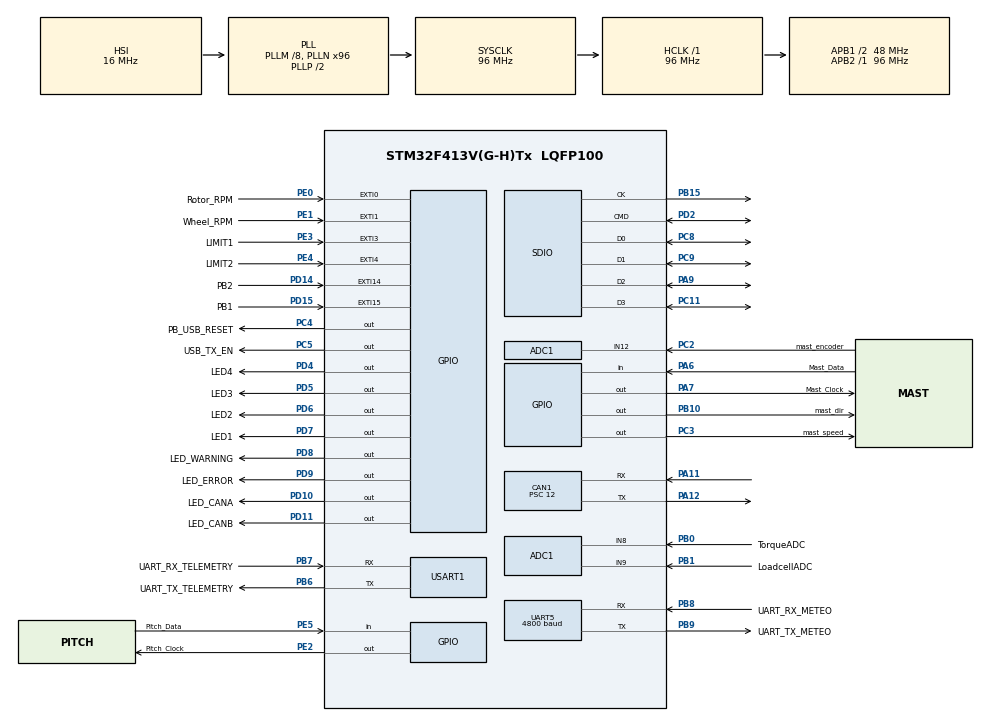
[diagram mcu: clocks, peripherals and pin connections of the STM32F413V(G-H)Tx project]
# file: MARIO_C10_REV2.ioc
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ADC1.Channel-0\#ChannelRegularConversion=ADC_CHANNEL_8
ADC1.Channel-3\#ChannelRegularConversion=ADC_CHANNEL_9
ADC1.ContinuousConvMode=ENABLE
ADC1.DiscontinuousConvMode=DISABLE
ADC1.EOCSelection=ADC_EOC_SINGLE_CONV
ADC1.InjNumberOfConversion=0
ADC1.NbrOfConversion=2
ADC1.NbrOfConversionFlag=1
ADC1.Rank-0\#ChannelRegularConversion=1
ADC1.Rank-3\#ChannelRegularConversion=2
ADC1.SamplingTime-0\#ChannelRegularConversion=ADC_SAMPLETIME_15CYCLES
ADC1.SamplingTime-3\#ChannelRegularConversion=ADC_SAMPLETIME_15CYCLES
ADC1.ScanConvMode=ENABLE
ADC1.master=1
CAN1.ABOM=ENABLE
CAN1.BS1=CAN_BS1_11TQ
CAN1.BS2=CAN_BS2_4TQ
CAN1.CalculateBaudRate=250000
CAN1.CalculateTimeBit=4000
CAN1.CalculateTimeQuantum=250.0
CAN1.NART=DISABLE
CAN1.Prescaler=12
CAN1.SJW=CAN_SJW_3TQ
CAN1.TXFP=ENABLE
Mcu.Family=STM32F4
Mcu.Name=STM32F413V(G-H)Tx
Mcu.Package=LQFP100
NVIC.ADC_IRQn=true\:0\:0\:false\:false\:true\:true\:true\:true
NVIC.CAN1_RX0_IRQn=true\:0\:0\:false\:false\:true\:true\:true\:true
NVIC.CAN1_RX1_IRQn=true\:0\:0\:false\:false\:true\:true\:true\:true
NVIC.EXTI0_IRQn=true\:0\:0\:false\:false\:true\:true\:true\:true
NVIC.EXTI15_10_IRQn=true\:0\:0\:false\:false\:true\:true\:true\:true
NVIC.EXTI1_IRQn=true\:0\:0\:false\:true\:true\:1\:true\:true\:true
NVIC.EXTI3_IRQn=true\:0\:0\:false\:false\:true\:true\:true\:true
NVIC.EXTI4_IRQn=true\:0\:0\:false\:false\:true\:true\:true\:true
NVIC.PriorityGroup=NVIC_PRIORITYGROUP_4
NVIC.TIM2_IRQn=true\:0\:0\:false\:false\:true\:true\:true\:true
NVIC.TIM3_IRQn=true\:0\:0\:false\:false\:true\:true\:true\:true
NVIC.TIM4_IRQn=true\:0\:0\:false\:false\:true\:true\:true\:true
NVIC.TIM5_IRQn=true\:0\:0\:false\:false\:true\:true\:true\:true
NVIC.TIM6_DAC_IRQn=true\:0\:0\:false\:false\:true\:true\:true\:true
NVIC.TIM7_IRQn=true\:0\:0\:false\:false\:true\:true\:true\:true
NVIC.UART5_IRQn=true\:0\:0\:false\:false\:true\:true\:true\:true
PA11.Mode=CAN_Activate
PA11.Signal=CAN1_RX
PA12.Mode=CAN_Activate
PA12.Signal=CAN1_TX
PA13.Signal=SYS_JTMS-SWDIO
PA14.Signal=SYS_JTCK-SWCLK
PA6.GPIO_Label=Mast_Data
PA6.Signal=GPIO_Input
PA7.GPIO_Label=Mast_Clock
PA7.Signal=GPIO_Output
PA9.Mode=SD_4_bits_Wide_bus
PA9.Signal=SDIO_D2
PB0.GPIO_Label=TorqueADC
PB0.Signal=ADCx_IN8
PB1.GPIO_Label=LoadcellADC
PB1.Signal=ADCx_IN9
PB10.GPIO_Label=mast_dir
PB10.Signal=GPIO_Output
PB15.Mode=SD_4_bits_Wide_bus
PB15.Signal=SDIO_CK
PB3.Signal=SYS_JTDO-SWO
PB6.GPIO_Label=UART_TX_TELEMETRY
PB6.Mode=Asynchronous
PB6.Signal=USART1_TX
PB7.GPIO_Label=UART_RX_TELEMETRY
PB7.Mode=Asynchronous
PB7.Signal=USART1_RX
PB8.GPIO_Label=UART_RX_METEO
PB8.Mode=Asynchronous
PB8.Signal=UART5_RX
PB9.GPIO_Label=UART_TX_METEO
PB9.Mode=Asynchronous
PB9.Signal=UART5_TX
PC11.Mode=SD_4_bits_Wide_bus
PC11.Signal=SDIO_D3
PC2.GPIO_Label=mast_encoder
PC2.Signal=ADCx_IN12
PC3.GPIO_Label=mast_speed
PC3.Signal=GPIO_Output
PC4.GPIO_Label=PB_USB_RESET
PC4.Signal=GPIO_Output
PC5.GPIO_Label=USB_TX_EN
PC5.Signal=GPIO_Output
PC8.Mode=SD_4_bits_Wide_bus
PC8.Signal=SDIO_D0
PC9.Mode=SD_4_bits_Wide_bus
PC9.Signal=SDIO_D1
PD10.GPIO_Label=LED_CANA
PD10.Signal=GPIO_Output
PD11.GPIO_Label=LED_CANB
PD11.Signal=GPIO_Output
PD14.GPIO_Label=PB2
PD14.GPIO_ModeDefaultEXTI=GPIO_MODE_IT_FALLING
PD14.Signal=GPXTI14
PD15.GPIO_Label=PB1
PD15.GPIO_ModeDefaultEXTI=GPIO_MODE_IT_FALLING
PD15.Signal=GPXTI15
PD2.Mode=SD_4_bits_Wide_bus
PD2.Signal=SDIO_CMD
PD4.GPIO_Label=LED4
PD4.Signal=GPIO_Output
PD5.GPIO_Label=LED3
PD5.Signal=GPIO_Output
PD6.GPIO_Label=LED2
PD6.Signal=GPIO_Output
PD7.GPIO_Label=LED1
PD7.Signal=GPIO_Output
PD8.GPIO_Label=LED_WARNING
PD8.Signal=GPIO_Output
PD9.GPIO_Label=LED_ERROR
PD9.Signal=GPIO_Output
PE0.GPIO_Label=Rotor_RPM
PE0.GPIO_PuPd=GPIO_PULLDOWN
PE0.Signal=GPXTI0
PE1.GPIO_Label=Wheel_RPM
PE1.GPIO_PuPd=GPIO_PULLDOWN
PE1.Signal=GPXTI1
PE2.GPIO_Label=Pitch_Clock
PE2.Signal=GPIO_Output
PE3.GPIO_Label=LIMIT1
PE3.Signal=GPXTI3
PE4.GPIO_Label=LIMIT2
PE4.Signal=GPXTI4
PE5.GPIO_Label=Pitch_Data
PE5.Signal=GPIO_Input
ProjectManager.HeapSize=0x200
ProjectManager.StackSize=0x400
ProjectManager.TargetToolchain=STM32CubeIDE
RCC.AHBFreq_Value=96000000
RCC.APB1CLKDivider=RCC_HCLK_DIV2
RCC.APB1Freq_Value=48000000
RCC.APB1TimFreq_Value=96000000
RCC.APB2Freq_Value=96000000
RCC.APB2TimFreq_Value=96000000
RCC.CortexFreq_Value=96000000
RCC.HCLKFreq_Value=96000000
RCC.PLLM=8
RCC.PLLN=96
RCC.PLLQ=4
RCC.SYSCLKFreq_VALUE=96000000
RCC.SYSCLKSource=RCC_SYSCLKSOURCE_PLLCLK
RCC.USBFreq_Value=48000000
RCC.VCOOutputFreq_Value=192000000
SH.ADCx_IN12.0=ADC1_IN12,IN12
SH.ADCx_IN8.0=ADC1_IN8,IN8
SH.ADCx_IN9.0=ADC1_IN9,IN9
TIM1.AutoReloadPreload=TIM_AUTORELOAD_PRELOAD_ENABLE
TIM1.Period=65535
TIM1.Prescaler=383
TIM2.Period=999
TIM2.Prescaler=95
TIM3.Period=0
TIM3.Prescaler=47
TIM4.Period=49999
TIM4.Prescaler=950
TIM5.Period=10000
TIM5.Prescaler=480
TIM6.Period=0
TIM6.Prescaler=63
TIM7.Period=9999
TIM7.Prescaler=950
UART5.BaudRate=4800
UART5.VirtualMode=Asynchronous
USART1.Parity=PARITY_NONE
USART1.VirtualMode=VM_ASYNC
VP_FATFS_VS_SDIO.Mode=SDIO
VP_TIM1_VS_ClockSourceINT.Mode=Internal
VP_TIM2_VS_ClockSourceINT.Mode=Internal
VP_TIM3_VS_ClockSourceINT.Mode=Internal
VP_TIM4_VS_ClockSourceINT.Mode=Internal
VP_TIM5_VS_ClockSourceINT.Mode=Internal
VP_TIM6_VS_ClockSourceINT.Mode=Enable_Timer
VP_TIM7_VS_ClockSourceINT.Mode=Enable_Timer
board=custom

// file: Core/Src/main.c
/* USER CODE BEGIN Header */
/**
 ******************************************************************************
 * @file           : main.c
 * @brief          : Main program body
 ******************************************************************************
 * @attention
 *
 * Copyright (c) 2024 STMicroelectronics.
 * All rights reserved.
 *
 * This software is licensed under terms that can be found in the LICENSE file
 * in the root directory of this software component.
 * If no LICENSE file comes with this software, it is provided AS-IS.
 *
 ******************************************************************************
 */
/* USER CODE END Header */
#include "main.h"
#include "fatfs.h"

/* USER CODE BEGIN Includes */
#include "stm32f4xx_hal.h"

#include "can.h"
#include "chinook_can_ids.h"
#include "state_machine.h"
#include "sensors.h"

/* USER CODE END Includes */

ADC_HandleTypeDef hadc1;

CAN_HandleTypeDef hcan1;

SD_HandleTypeDef hsd;

TIM_HandleTypeDef htim1;
TIM_HandleTypeDef htim2;
TIM_HandleTypeDef htim3;
TIM_HandleTypeDef htim4;
TIM_HandleTypeDef htim5;
TIM_HandleTypeDef htim6;
TIM_HandleTypeDef htim7;

UART_HandleTypeDef huart5;
UART_HandleTypeDef huart1;

void SystemClock_Config(void);
static void MX_GPIO_Init(void);
static void MX_ADC1_Init(void);
static void MX_CAN1_Init(void);
static void MX_TIM3_Init(void);
static void MX_TIM4_Init(void);
static void MX_TIM5_Init(void);
static void MX_TIM2_Init(void);
static void MX_TIM1_Init(void);
static void MX_USART1_UART_Init(void);
static void MX_TIM6_Init(void);
static void MX_TIM7_Init(void);
static void MX_UART5_Init(void);
static void MX_SDIO_SD_Init(void);
static void MX_NVIC_Init(void);

int main(void)
{

  /* MCU Configuration--------------------------------------------------------*/

  /* Reset of all peripherals, Initializes the Flash interface and the Systick. */
  HAL_Init();

  /* Configure the system clock */
  SystemClock_Config();

  /* Initialize all configured peripherals */
  MX_GPIO_Init();
  MX_ADC1_Init();
  MX_CAN1_Init();
  MX_TIM3_Init();
  MX_TIM4_Init();
  MX_TIM5_Init();
  MX_TIM2_Init();
  MX_TIM1_Init();
  MX_USART1_UART_Init();
  MX_TIM6_Init();
  MX_TIM7_Init();
  MX_UART5_Init();
  MX_SDIO_SD_Init();
  MX_FATFS_Init();

  /* Initialize interrupts */
  MX_NVIC_Init();

  /* Infinite loop */
  /* USER CODE BEGIN WHILE */
	while (1) {
		ExecuteStateMachine();
	}
    /* USER CODE END WHILE */

}

void SystemClock_Config(void)
{
  RCC_OscInitTypeDef RCC_OscInitStruct = {0};
  RCC_ClkInitTypeDef RCC_ClkInitStruct = {0};

  /** Configure the main internal regulator output voltage
  */
  __HAL_RCC_PWR_CLK_ENABLE();
  __HAL_PWR_VOLTAGESCALING_CONFIG(PWR_REGULATOR_VOLTAGE_SCALE1);
  /** Initializes the RCC Oscillators according to the specified parameters
  * in the RCC_OscInitTypeDef structure.
  */
  RCC_OscInitStruct.OscillatorType = RCC_OSCILLATORTYPE_HSI;
  RCC_OscInitStruct.HSIState = RCC_HSI_ON;
  RCC_OscInitStruct.HSICalibrationValue = RCC_HSICALIBRATION_DEFAULT;
  RCC_OscInitStruct.PLL.PLLState = RCC_PLL_ON;
  RCC_OscInitStruct.PLL.PLLSource = RCC_PLLSOURCE_HSI;
  RCC_OscInitStruct.PLL.PLLM = 8;
  RCC_OscInitStruct.PLL.PLLN = 96;
  RCC_OscInitStruct.PLL.PLLP = RCC_PLLP_DIV2;
  RCC_OscInitStruct.PLL.PLLQ = 4;
  RCC_OscInitStruct.PLL.PLLR = 2;
  if (HAL_RCC_OscConfig(&RCC_OscInitStruct) != HAL_OK)
  {
    Error_Handler();
  }
  /** Initializes the CPU, AHB and APB buses clocks
  */
  RCC_ClkInitStruct.ClockType = RCC_CLOCKTYPE_HCLK|RCC_CLOCKTYPE_SYSCLK
                              |RCC_CLOCKTYPE_PCLK1|RCC_CLOCKTYPE_PCLK2;
  RCC_ClkInitStruct.SYSCLKSource = RCC_SYSCLKSOURCE_PLLCLK;
  RCC_ClkInitStruct.AHBCLKDivider = RCC_SYSCLK_DIV1;
  RCC_ClkInitStruct.APB1CLKDivider = RCC_HCLK_DIV2;
  RCC_ClkInitStruct.APB2CLKDivider = RCC_HCLK_DIV1;

  if (HAL_RCC_ClockConfig(&RCC_ClkInitStruct, FLASH_LATENCY_3) != HAL_OK)
  {
    Error_Handler();
  }
}

/**
  * @brief NVIC Configuration.
  * @retval None
  */
static void MX_NVIC_Init(void)
{
  /* EXTI1_IRQn interrupt configuration */
  HAL_NVIC_SetPriority(EXTI1_IRQn, 0, 0);
  HAL_NVIC_EnableIRQ(EXTI1_IRQn);
}

static void MX_ADC1_Init(void)
{

  ADC_ChannelConfTypeDef sConfig = {0};

  /** Configure the global features of the ADC (Clock, Resolution, Data Alignment and number of conversion)
  */
  hadc1.Instance = ADC1;
  hadc1.Init.ClockPrescaler = ADC_CLOCK_SYNC_PCLK_DIV4;
  hadc1.Init.Resolution = ADC_RESOLUTION_12B;
  hadc1.Init.ScanConvMode = ENABLE;
  hadc1.Init.ContinuousConvMode = ENABLE;
  hadc1.Init.DiscontinuousConvMode = DISABLE;
  hadc1.Init.ExternalTrigConvEdge = ADC_EXTERNALTRIGCONVEDGE_NONE;
  hadc1.Init.ExternalTrigConv = ADC_SOFTWARE_START;
  hadc1.Init.DataAlign = ADC_DATAALIGN_RIGHT;
  hadc1.Init.NbrOfConversion = 2;
  hadc1.Init.DMAContinuousRequests = DISABLE;
  hadc1.Init.EOCSelection = ADC_EOC_SINGLE_CONV;
  if (HAL_ADC_Init(&hadc1) != HAL_OK)
  {
    Error_Handler();
  }
  /** Configure for the selected ADC regular channel its corresponding rank in the sequencer and its sample time.
  */
  sConfig.Channel = ADC_CHANNEL_8;
  sConfig.Rank = 1;
  sConfig.SamplingTime = ADC_SAMPLETIME_15CYCLES;
  if (HAL_ADC_ConfigChannel(&hadc1, &sConfig) != HAL_OK)
  {
    Error_Handler();
  }
  /** Configure for the selected ADC regular channel its corresponding rank in the sequencer and its sample time.
  */
  sConfig.Channel = ADC_CHANNEL_9;
  sConfig.Rank = 2;
  if (HAL_ADC_ConfigChannel(&hadc1, &sConfig) != HAL_OK)
  {
    Error_Handler();
  }
  /* USER CODE BEGIN ADC1_Init 2 */

	HAL_ADC_Start_IT(&hadc1); //start interrrupt ADC1

  /* USER CODE END ADC1_Init 2 */

}

static void MX_CAN1_Init(void)
{

  hcan1.Instance = CAN1;
  hcan1.Init.Prescaler = 12;
  hcan1.Init.Mode = CAN_MODE_NORMAL;
  hcan1.Init.SyncJumpWidth = CAN_SJW_3TQ;
  hcan1.Init.TimeSeg1 = CAN_BS1_11TQ;
  hcan1.Init.TimeSeg2 = CAN_BS2_4TQ;
  hcan1.Init.TimeTriggeredMode = DISABLE;
  hcan1.Init.AutoBusOff = ENABLE;
  hcan1.Init.AutoWakeUp = DISABLE;
  hcan1.Init.AutoRetransmission = DISABLE;
  hcan1.Init.ReceiveFifoLocked = DISABLE;
  hcan1.Init.TransmitFifoPriority = ENABLE;
  if (HAL_CAN_Init(&hcan1) != HAL_OK)
  {
    Error_Handler();
  }
  /* USER CODE BEGIN CAN1_Init 2 */

  /*
  CAN_FilterTypeDef filter_fifo0;
      	// All common bits go into the ID register
      filter_fifo0.FilterIdHigh = MARIO_FIFO0_RX_FILTER_ID_HIGH;
      filter_fifo0.FilterIdLow = MARIO_FIFO0_RX_FILTER_ID_LOW;

      	// Which bits to compare for filter
      filter_fifo0.FilterMaskIdHigh = MARIO_FIFO0_RX_FILTER_MASK_HIGH;
      filter_fifo0.FilterMaskIdLow = MARIO_FIFO0_RX_FILTER_MASK_LOW;

      filter_fifo0.FilterFIFOAssignment = CAN_FILTER_FIFO0;
      filter_fifo0.FilterBank = 18; // Which filter to use from the assigned ones
      filter_fifo0.FilterMode = CAN_FILTERMODE_IDMASK;
      filter_fifo0.FilterScale = CAN_FILTERSCALE_32BIT;
      filter_fifo0.FilterActivation = CAN_FILTER_ENABLE;
      filter_fifo0.SlaveStartFilterBank = 20; // How many filters to assign to CAN1
  	if (HAL_CAN_ConfigFilter(&hcan1, &filter_fifo0) != HAL_OK)
  	{
  	  Error_Handler();
  	}
  	*/
/*
    CAN_FilterTypeDef filter_all;
    	// All common bits go into the ID register
    filter_all.FilterIdHigh = 0x0000;
    filter_all.FilterIdLow = 0x0000;

    	// Which bits to compare for filter
    filter_all.FilterMaskIdHigh = 0x0000;
    filter_all.FilterMaskIdLow = 0x0000;

    filter_all.FilterFIFOAssignment = CAN_FILTER_FIFO0;
    filter_all.FilterBank = 18; // Which filter to use from the assigned ones
    filter_all.FilterMode = CAN_FILTERMODE_IDMASK;
    filter_all.FilterScale = CAN_FILTERSCALE_32BIT;
    filter_all.FilterActivation = CAN_FILTER_ENABLE;
    filter_all.SlaveStartFilterBank = 20; // How many filters to assign to CAN1
	if (HAL_CAN_ConfigFilter(&hcan1, &filter_all) != HAL_OK)
	{
	  Error_Handler();
	}
*/

  	CAN_FilterTypeDef sf_fifo0;
  	// All common bits go into the ID register
  	sf_fifo0.FilterIdHigh = MARIO_FIFO0_RX_FILTER_ID_HIGH;
  	sf_fifo0.FilterIdLow = MARIO_FIFO0_RX_FILTER_ID_LOW;

  	// Which bits to compare for filter
  	sf_fifo0.FilterMaskIdHigh = 0x0000;
  	sf_fifo0.FilterMaskIdLow = (FIFO0_RX_FILTER_MASK_LOW & 0x07FF);

  	sf_fifo0.FilterFIFOAssignment = CAN_FILTER_FIFO0;
  	sf_fifo0.FilterBank = 2; // Which filter to use from the assigned ones
  	sf_fifo0.FilterMode = CAN_FILTERMODE_IDMASK;
  	sf_fifo0.FilterScale = CAN_FILTERSCALE_32BIT;
  	sf_fifo0.FilterActivation = CAN_FILTER_ENABLE;
  	sf_fifo0.SlaveStartFilterBank = 20; // How many filters to assign to CAN1
  	if (HAL_CAN_ConfigFilter(&hcan1, &sf_fifo0) != HAL_OK)
  	{
  	  Error_Handler();
  	}

  	CAN_FilterTypeDef sf_fifo1;
  	// All common bits go into the ID register
  	sf_fifo1.FilterIdHigh = FIFO1_RX_FILTER_ID_HIGH;
  	sf_fifo1.FilterIdLow = FIFO1_RX_FILTER_ID_LOW;

  	// Which bits to compare for filter
  	sf_fifo1.FilterMaskIdHigh = 0x0000;
  	sf_fifo1.FilterMaskIdLow = (FIFO1_RX_FILTER_MASK_LOW & 0x07FF);

  	sf_fifo1.FilterFIFOAssignment = CAN_FILTER_FIFO1;
  	sf_fifo1.FilterBank = 3; // Which filter to use from the assigned ones
  	sf_fifo1.FilterMode = CAN_FILTERMODE_IDMASK;
  	sf_fifo1.FilterScale = CAN_FILTERSCALE_32BIT;
  	sf_fifo1.FilterActivation = CAN_FILTER_ENABLE;
  	sf_fifo1.SlaveStartFilterBank = 20; // How many filters to assign to CAN1
  	if (HAL_CAN_ConfigFilter(&hcan1, &sf_fifo1) != HAL_OK)
  	{
  	  Error_Handler();
  	}

  if (HAL_CAN_Start(&hcan1) != HAL_OK)
  	{
  		Error_Handler();
  	}
  	// if (HAL_CAN_ActivateNotification(&hcan1, CAN_IT_RX_FIFO0_MSG_PENDING | CAN_IT_RX_FIFO1_MSG_PENDING | CAN_IT_BUSOFF | CAN_IT_ERROR | CAN_IT_ERROR_WARNING | CAN_IT_ERROR_PASSIVE) != HAL_OK)
    if (HAL_CAN_ActivateNotification(&hcan1, CAN_IT_RX_FIFO0_MSG_PENDING | CAN_IT_RX_FIFO1_MSG_PENDING) != HAL_OK)
  	// if (HAL_CAN_ActivateNotification(&hcan1, CAN_IT_RX_FIFO0_MSG_PENDING) != HAL_OK)
  	{
  		Error_Handler();
  	}

  /* USER CODE END CAN1_Init 2 */

}

static void MX_SDIO_SD_Init(void)
{

  hsd.Instance = SDIO;
  hsd.Init.ClockEdge = SDIO_CLOCK_EDGE_RISING;
  hsd.Init.ClockBypass = SDIO_CLOCK_BYPASS_DISABLE;
  hsd.Init.ClockPowerSave = SDIO_CLOCK_POWER_SAVE_DISABLE;
  hsd.Init.BusWide = SDIO_BUS_WIDE_1B;
  hsd.Init.HardwareFlowControl = SDIO_HARDWARE_FLOW_CONTROL_DISABLE;
  hsd.Init.ClockDiv = 8;  // Ralentir le clock SDIO encore plus pour debug

}

static void MX_TIM1_Init(void)
{

  TIM_ClockConfigTypeDef sClockSourceConfig = {0};
  TIM_MasterConfigTypeDef sMasterConfig = {0};

  htim1.Instance = TIM1;
  htim1.Init.Prescaler = 383;
  htim1.Init.CounterMode = TIM_COUNTERMODE_UP;
  htim1.Init.Period = 65535;
  htim1.Init.ClockDivision = TIM_CLOCKDIVISION_DIV1;
  htim1.Init.RepetitionCounter = 0;
  htim1.Init.AutoReloadPreload = TIM_AUTORELOAD_PRELOAD_ENABLE;
  if (HAL_TIM_Base_Init(&htim1) != HAL_OK)
  {
    Error_Handler();
  }
  sClockSourceConfig.ClockSource = TIM_CLOCKSOURCE_INTERNAL;
  if (HAL_TIM_ConfigClockSource(&htim1, &sClockSourceConfig) != HAL_OK)
  {
    Error_Handler();
  }
  sMasterConfig.MasterOutputTrigger = TIM_TRGO_RESET;
  sMasterConfig.MasterSlaveMode = TIM_MASTERSLAVEMODE_DISABLE;
  if (HAL_TIMEx_MasterConfigSynchronization(&htim1, &sMasterConfig) != HAL_OK)
  {
    Error_Handler();
  }
  /* USER CODE BEGIN TIM1_Init 2 */

	HAL_TIM_Base_Start(&htim1);

  /* USER CODE END TIM1_Init 2 */

}

static void MX_TIM2_Init(void)
{

  TIM_ClockConfigTypeDef sClockSourceConfig = {0};
  TIM_MasterConfigTypeDef sMasterConfig = {0};

  htim2.Instance = TIM2;
  htim2.Init.Prescaler = 95;
  htim2.Init.CounterMode = TIM_COUNTERMODE_UP;
  htim2.Init.Period = 999;
  htim2.Init.ClockDivision = TIM_CLOCKDIVISION_DIV1;
  htim2.Init.AutoReloadPreload = TIM_AUTORELOAD_PRELOAD_DISABLE;
  if (HAL_TIM_Base_Init(&htim2) != HAL_OK)
  {
    Error_Handler();
  }
  sClockSourceConfig.ClockSource = TIM_CLOCKSOURCE_INTERNAL;
  if (HAL_TIM_ConfigClockSource(&htim2, &sClockSourceConfig) != HAL_OK)
  {
    Error_Handler();
  }
  sMasterConfig.MasterOutputTrigger = TIM_TRGO_RESET;
  sMasterConfig.MasterSlaveMode = TIM_MASTERSLAVEMODE_DISABLE;
  if (HAL_TIMEx_MasterConfigSynchronization(&htim2, &sMasterConfig) != HAL_OK)
  {
    Error_Handler();
  }
  /* USER CODE BEGIN TIM2_Init 2 */

	HAL_TIM_Base_Start_IT(&htim2);

  /* USER CODE END TIM2_Init 2 */

}

static void MX_TIM3_Init(void)
{

  TIM_ClockConfigTypeDef sClockSourceConfig = {0};
  TIM_MasterConfigTypeDef sMasterConfig = {0};

  htim3.Instance = TIM3;
  htim3.Init.Prescaler = 47;
  htim3.Init.CounterMode = TIM_COUNTERMODE_UP;
  htim3.Init.Period = 0;
  htim3.Init.ClockDivision = TIM_CLOCKDIVISION_DIV1;
  htim3.Init.AutoReloadPreload = TIM_AUTORELOAD_PRELOAD_DISABLE;
  if (HAL_TIM_Base_Init(&htim3) != HAL_OK)
  {
    Error_Handler();
  }
  sClockSourceConfig.ClockSource = TIM_CLOCKSOURCE_INTERNAL;
  if (HAL_TIM_ConfigClockSource(&htim3, &sClockSourceConfig) != HAL_OK)
  {
    Error_Handler();
  }
  sMasterConfig.MasterOutputTrigger = TIM_TRGO_RESET;
  sMasterConfig.MasterSlaveMode = TIM_MASTERSLAVEMODE_DISABLE;
  if (HAL_TIMEx_MasterConfigSynchronization(&htim3, &sMasterConfig) != HAL_OK)
  {
    Error_Handler();
  }
  /* USER CODE BEGIN TIM3_Init 2 */

	HAL_TIM_Base_Start_IT(&htim3);

  /* USER CODE END TIM3_Init 2 */

}

static void MX_TIM4_Init(void)
{

  TIM_ClockConfigTypeDef sClockSourceConfig = {0};
  TIM_MasterConfigTypeDef sMasterConfig = {0};

  htim4.Instance = TIM4;
  htim4.Init.Prescaler = 950;
  htim4.Init.CounterMode = TIM_COUNTERMODE_UP;
  htim4.Init.Period = 49999;
  htim4.Init.ClockDivision = TIM_CLOCKDIVISION_DIV1;
  htim4.Init.AutoReloadPreload = TIM_AUTORELOAD_PRELOAD_DISABLE;
  if (HAL_TIM_Base_Init(&htim4) != HAL_OK)
  {
    Error_Handler();
  }
  sClockSourceConfig.ClockSource = TIM_CLOCKSOURCE_INTERNAL;
  if (HAL_TIM_ConfigClockSource(&htim4, &sClockSourceConfig) != HAL_OK)
  {
    Error_Handler();
  }
  sMasterConfig.MasterOutputTrigger = TIM_TRGO_RESET;
  sMasterConfig.MasterSlaveMode = TIM_MASTERSLAVEMODE_DISABLE;
  if (HAL_TIMEx_MasterConfigSynchronization(&htim4, &sMasterConfig) != HAL_OK)
  {
    Error_Handler();
  }

}

static void MX_TIM5_Init(void)
{

  TIM_ClockConfigTypeDef sClockSourceConfig = {0};
  TIM_MasterConfigTypeDef sMasterConfig = {0};

  htim5.Instance = TIM5;
  htim5.Init.Prescaler = 480;
  htim5.Init.CounterMode = TIM_COUNTERMODE_UP;
  htim5.Init.Period = 10000;
  htim5.Init.ClockDivision = TIM_CLOCKDIVISION_DIV1;
  htim5.Init.AutoReloadPreload = TIM_AUTORELOAD_PRELOAD_DISABLE;
  if (HAL_TIM_Base_Init(&htim5) != HAL_OK)
  {
    Error_Handler();
  }
  sClockSourceConfig.ClockSource = TIM_CLOCKSOURCE_INTERNAL;
  if (HAL_TIM_ConfigClockSource(&htim5, &sClockSourceConfig) != HAL_OK)
  {
    Error_Handler();
  }
  sMasterConfig.MasterOutputTrigger = TIM_TRGO_RESET;
  sMasterConfig.MasterSlaveMode = TIM_MASTERSLAVEMODE_DISABLE;
  if (HAL_TIMEx_MasterConfigSynchronization(&htim5, &sMasterConfig) != HAL_OK)
  {
    Error_Handler();
  }

}

static void MX_TIM6_Init(void)
{

  TIM_MasterConfigTypeDef sMasterConfig = {0};

  htim6.Instance = TIM6;
  htim6.Init.Prescaler = 63;
  htim6.Init.CounterMode = TIM_COUNTERMODE_UP;
  htim6.Init.Period = 0;
  htim6.Init.AutoReloadPreload = TIM_AUTORELOAD_PRELOAD_DISABLE;
  if (HAL_TIM_Base_Init(&htim6) != HAL_OK)
  {
    Error_Handler();
  }
  sMasterConfig.MasterOutputTrigger = TIM_TRGO_RESET;
  sMasterConfig.MasterSlaveMode = TIM_MASTERSLAVEMODE_DISABLE;
  if (HAL_TIMEx_MasterConfigSynchronization(&htim6, &sMasterConfig) != HAL_OK)
  {
    Error_Handler();
  }

}

static void MX_TIM7_Init(void)
{

  TIM_MasterConfigTypeDef sMasterConfig = {0};

  htim7.Instance = TIM7;
  htim7.Init.Prescaler = 950;
  htim7.Init.CounterMode = TIM_COUNTERMODE_UP;
  htim7.Init.Period = 9999;
  htim7.Init.AutoReloadPreload = TIM_AUTORELOAD_PRELOAD_DISABLE;
  if (HAL_TIM_Base_Init(&htim7) != HAL_OK)
  {
    Error_Handler();
  }
  sMasterConfig.MasterOutputTrigger = TIM_TRGO_RESET;
  sMasterConfig.MasterSlaveMode = TIM_MASTERSLAVEMODE_DISABLE;
  if (HAL_TIMEx_MasterConfigSynchronization(&htim7, &sMasterConfig) != HAL_OK)
  {
    Error_Handler();
  }
  /* USER CODE BEGIN TIM7_Init 2 */

	HAL_TIM_Base_Start_IT(&htim7);

  /* USER CODE END TIM7_Init 2 */

}

static void MX_UART5_Init(void)
{

  huart5.Instance = UART5;
  huart5.Init.BaudRate = 4800;
  huart5.Init.WordLength = UART_WORDLENGTH_8B;
  huart5.Init.StopBits = UART_STOPBITS_1;
  huart5.Init.Parity = UART_PARITY_NONE;
  huart5.Init.Mode = UART_MODE_TX_RX;
  huart5.Init.HwFlowCtl = UART_HWCONTROL_NONE;
  huart5.Init.OverSampling = UART_OVERSAMPLING_16;
  if (HAL_UART_Init(&huart5) != HAL_OK)
  {
    Error_Handler();
  }

}

static void MX_USART1_UART_Init(void)
{

  huart1.Instance = USART1;
  huart1.Init.BaudRate = 115200;
  huart1.Init.WordLength = UART_WORDLENGTH_8B;
  huart1.Init.StopBits = UART_STOPBITS_1;
  huart1.Init.Parity = UART_PARITY_NONE;
  huart1.Init.Mode = UART_MODE_TX_RX;
  huart1.Init.HwFlowCtl = UART_HWCONTROL_NONE;
  huart1.Init.OverSampling = UART_OVERSAMPLING_16;
  if (HAL_UART_Init(&huart1) != HAL_OK)
  {
    Error_Handler();
  }

}

static void MX_GPIO_Init(void)
{
  GPIO_InitTypeDef GPIO_InitStruct = {0};

  /* GPIO Ports Clock Enable */
  __HAL_RCC_GPIOE_CLK_ENABLE();
  __HAL_RCC_GPIOC_CLK_ENABLE();
  __HAL_RCC_GPIOA_CLK_ENABLE();
  __HAL_RCC_GPIOB_CLK_ENABLE();
  __HAL_RCC_GPIOD_CLK_ENABLE();

  /*Configure GPIO pin Output Level */
  HAL_GPIO_WritePin(Pitch_Clock_GPIO_Port, Pitch_Clock_Pin, GPIO_PIN_RESET);

  /*Configure GPIO pin Output Level */
  HAL_GPIO_WritePin(GPIOC, mast_speed_Pin|PB_USB_RESET_Pin|USB_TX_EN_Pin, GPIO_PIN_RESET);

  /*Configure GPIO pin Output Level */
  HAL_GPIO_WritePin(Mast_Clock_GPIO_Port, Mast_Clock_Pin, GPIO_PIN_RESET);

  /*Configure GPIO pin Output Level */
  HAL_GPIO_WritePin(mast_dir_GPIO_Port, mast_dir_Pin, GPIO_PIN_RESET);

  /*Configure GPIO pin Output Level */
  HAL_GPIO_WritePin(GPIOD, LED_WARNING_Pin|LED_ERROR_Pin|LED_CANA_Pin|LED_CANB_Pin
                          |LED4_Pin|LED3_Pin|LED2_Pin|LED1_Pin, GPIO_PIN_RESET);

  /*Configure GPIO pin : Pitch_Clock_Pin */
  GPIO_InitStruct.Pin = Pitch_Clock_Pin;
  GPIO_InitStruct.Mode = GPIO_MODE_OUTPUT_PP;
  GPIO_InitStruct.Pull = GPIO_NOPULL;
  GPIO_InitStruct.Speed = GPIO_SPEED_FREQ_LOW;
  HAL_GPIO_Init(Pitch_Clock_GPIO_Port, &GPIO_InitStruct);

  /*Configure GPIO pins : LIMIT1_Pin LIMIT2_Pin */
  GPIO_InitStruct.Pin = LIMIT1_Pin|LIMIT2_Pin;
  GPIO_InitStruct.Mode = GPIO_MODE_IT_RISING;
  GPIO_InitStruct.Pull = GPIO_NOPULL;
  HAL_GPIO_Init(GPIOE, &GPIO_InitStruct);

  /*Configure GPIO pin : Pitch_Data_Pin */
  GPIO_InitStruct.Pin = Pitch_Data_Pin;
  GPIO_InitStruct.Mode = GPIO_MODE_INPUT;
  GPIO_InitStruct.Pull = GPIO_NOPULL;
  HAL_GPIO_Init(Pitch_Data_GPIO_Port, &GPIO_InitStruct);

  /*Configure GPIO pins : mast_speed_Pin PB_USB_RESET_Pin USB_TX_EN_Pin */
  GPIO_InitStruct.Pin = mast_speed_Pin|PB_USB_RESET_Pin|USB_TX_EN_Pin;
  GPIO_InitStruct.Mode = GPIO_MODE_OUTPUT_PP;
  GPIO_InitStruct.Pull = GPIO_NOPULL;
  GPIO_InitStruct.Speed = GPIO_SPEED_FREQ_LOW;
  HAL_GPIO_Init(GPIOC, &GPIO_InitStruct);

  /*Configure GPIO pin : Mast_Data_Pin */
  GPIO_InitStruct.Pin = Mast_Data_Pin;
  GPIO_InitStruct.Mode = GPIO_MODE_INPUT;
  GPIO_InitStruct.Pull = GPIO_NOPULL;
  HAL_GPIO_Init(Mast_Data_GPIO_Port, &GPIO_InitStruct);

  /*Configure GPIO pin : Mast_Clock_Pin */
  GPIO_InitStruct.Pin = Mast_Clock_Pin;
  GPIO_InitStruct.Mode = GPIO_MODE_OUTPUT_PP;
  GPIO_InitStruct.Pull = GPIO_NOPULL;
  GPIO_InitStruct.Speed = GPIO_SPEED_FREQ_LOW;
  HAL_GPIO_Init(Mast_Clock_GPIO_Port, &GPIO_InitStruct);

  /*Configure GPIO pin : mast_dir_Pin */
  GPIO_InitStruct.Pin = mast_dir_Pin;
  GPIO_InitStruct.Mode = GPIO_MODE_OUTPUT_PP;
  GPIO_InitStruct.Pull = GPIO_NOPULL;
  GPIO_InitStruct.Speed = GPIO_SPEED_FREQ_LOW;
  HAL_GPIO_Init(mast_dir_GPIO_Port, &GPIO_InitStruct);

  /*Configure GPIO pins : LED_WARNING_Pin LED_ERROR_Pin LED_CANA_Pin LED_CANB_Pin
                           LED4_Pin LED3_Pin LED2_Pin LED1_Pin */
  GPIO_InitStruct.Pin = LED_WARNING_Pin|LED_ERROR_Pin|LED_CANA_Pin|LED_CANB_Pin
                          |LED4_Pin|LED3_Pin|LED2_Pin|LED1_Pin;
  GPIO_InitStruct.Mode = GPIO_MODE_OUTPUT_PP;
  GPIO_InitStruct.Pull = GPIO_NOPULL;
  GPIO_InitStruct.Speed = GPIO_SPEED_FREQ_LOW;
  HAL_GPIO_Init(GPIOD, &GPIO_InitStruct);

  /*Configure GPIO pins : PB2_Pin PB1_Pin */
  GPIO_InitStruct.Pin = PB2_Pin|PB1_Pin;
  GPIO_InitStruct.Mode = GPIO_MODE_IT_FALLING;
  GPIO_InitStruct.Pull = GPIO_NOPULL;
  HAL_GPIO_Init(GPIOD, &GPIO_InitStruct);

  /*Configure GPIO pins : Rotor_RPM_Pin Wheel_RPM_Pin */
  GPIO_InitStruct.Pin = Rotor_RPM_Pin|Wheel_RPM_Pin;
  GPIO_InitStruct.Mode = GPIO_MODE_IT_RISING;
  GPIO_InitStruct.Pull = GPIO_PULLDOWN;
  HAL_GPIO_Init(GPIOE, &GPIO_InitStruct);

  /* EXTI interrupt init*/
  HAL_NVIC_SetPriority(EXTI0_IRQn, 0, 0);
  HAL_NVIC_EnableIRQ(EXTI0_IRQn);

  HAL_NVIC_SetPriority(EXTI3_IRQn, 0, 0);
  HAL_NVIC_EnableIRQ(EXTI3_IRQn);

  HAL_NVIC_SetPriority(EXTI4_IRQn, 0, 0);
  HAL_NVIC_EnableIRQ(EXTI4_IRQn);

  HAL_NVIC_SetPriority(EXTI15_10_IRQn, 0, 0);
  HAL_NVIC_EnableIRQ(EXTI15_10_IRQn);

}

/* USER CODE BEGIN 4 */

// CAN variables
uint8_t txData[8];
uint8_t rxData[8];
CAN_TxHeaderTypeDef pTxHeader;
CAN_RxHeaderTypeDef pRxHeader;
uint32_t txMailbox;

void CAN_ReceiveFifoCallback(CAN_HandleTypeDef *hcan, uint32_t fifo) {
	uint32_t num_messages = HAL_CAN_GetRxFifoFillLevel(hcan, fifo);
	for (int i = 0; i < num_messages; ++i) {
		if (HAL_CAN_GetRxMessage(hcan, fifo, &pRxHeader, rxData) != HAL_OK) {
			Error_Handler();
		}

		ProcessCanMessage();
	}
}

void HAL_CAN_RxFifo0MsgPendingCallback(CAN_HandleTypeDef *hcan) {
	HAL_GPIO_TogglePin(LED_CANB_GPIO_Port, LED_CANB_Pin);
	CAN_ReceiveFifoCallback(hcan, CAN_RX_FIFO0);
}

void HAL_CAN_RxFifo1MsgPendingCallback(CAN_HandleTypeDef *hcan) {
	HAL_GPIO_TogglePin(LED_CANB_GPIO_Port, LED_CANB_Pin);
	CAN_ReceiveFifoCallback(hcan, CAN_RX_FIFO1);
}

void HAL_CAN_ErrorCallback(CAN_HandleTypeDef *hcan) {
	// HAL_GPIO_WritePin(LED_ERROR_GPIO_Port, LED_ERROR_Pin, GPIO_PIN_SET);
	HAL_GPIO_TogglePin(LED_ERROR_GPIO_Port, LED_ERROR_Pin);
}

HAL_StatusTypeDef TransmitCAN(uint32_t id, uint8_t *buf, uint8_t size,
		uint8_t with_priority) {
	// CAN_TxHeaderTypeDef msg;
	pTxHeader.StdId = id;
	pTxHeader.IDE = CAN_ID_STD;
	pTxHeader.RTR = CAN_RTR_DATA;
	pTxHeader.DLC = size; // Number of bytes to send
	pTxHeader.TransmitGlobalTime = DISABLE;

	uint8_t found_mailbox = 0;
	for (int i = 0; i < 4; ++i) {
		// Check that mailbox is available for tx
		if (HAL_CAN_GetTxMailboxesFreeLevel(&hcan1) > 0) {
			found_mailbox = 1;
			break;
		}
		// Otherwise wait until free mailbox
		// for (int j = 0; j < 500; ++j) {}
		//delay_us(2);
	}
	if (!found_mailbox) {
		// HAL_GPIO_WritePin(LED_ERROR_GPIO_Port, LED_ERROR_Pin, GPIO_PIN_SET);
		HAL_GPIO_TogglePin(LED4_GPIO_Port, LED4_Pin);
	}

	if (with_priority) {
		// If message is important, make sure no other messages are queud to ensure it will be sent after any other
		// values that could override it.
		for (int i = 0; i < 10; ++i) {
			// Check that all 3 mailboxes are empty
			if (HAL_CAN_GetTxMailboxesFreeLevel(&hcan1) == 3)
				break;
			// Otherwise wait until 3 free mailbox
			// for (int j = 0; j < 500; ++j) {}
			//delay_us(50);
		}
	}

	uint32_t mb;
	HAL_StatusTypeDef ret = HAL_CAN_AddTxMessage(&hcan1, &pTxHeader, buf, &mb);
	if (ret != HAL_OK) {
		HAL_GPIO_WritePin(LED_WARNING_GPIO_Port, LED_WARNING_Pin, GPIO_PIN_SET);
		return ret;
	}

	// Successful transmit
	//HAL_GPIO_TogglePin(LED2_GPIO_Port, LED2_Pin);

	// Update the error led if had a successful can write
	HAL_GPIO_WritePin(LED_WARNING_GPIO_Port, LED_WARNING_Pin, GPIO_PIN_RESET);
	// ToggleLed(LED_CAN);
	return ret;
}

/* USER CODE END 4 */

void Error_Handler(void)
{
	__disable_irq();
	while (1) {
	}
}
